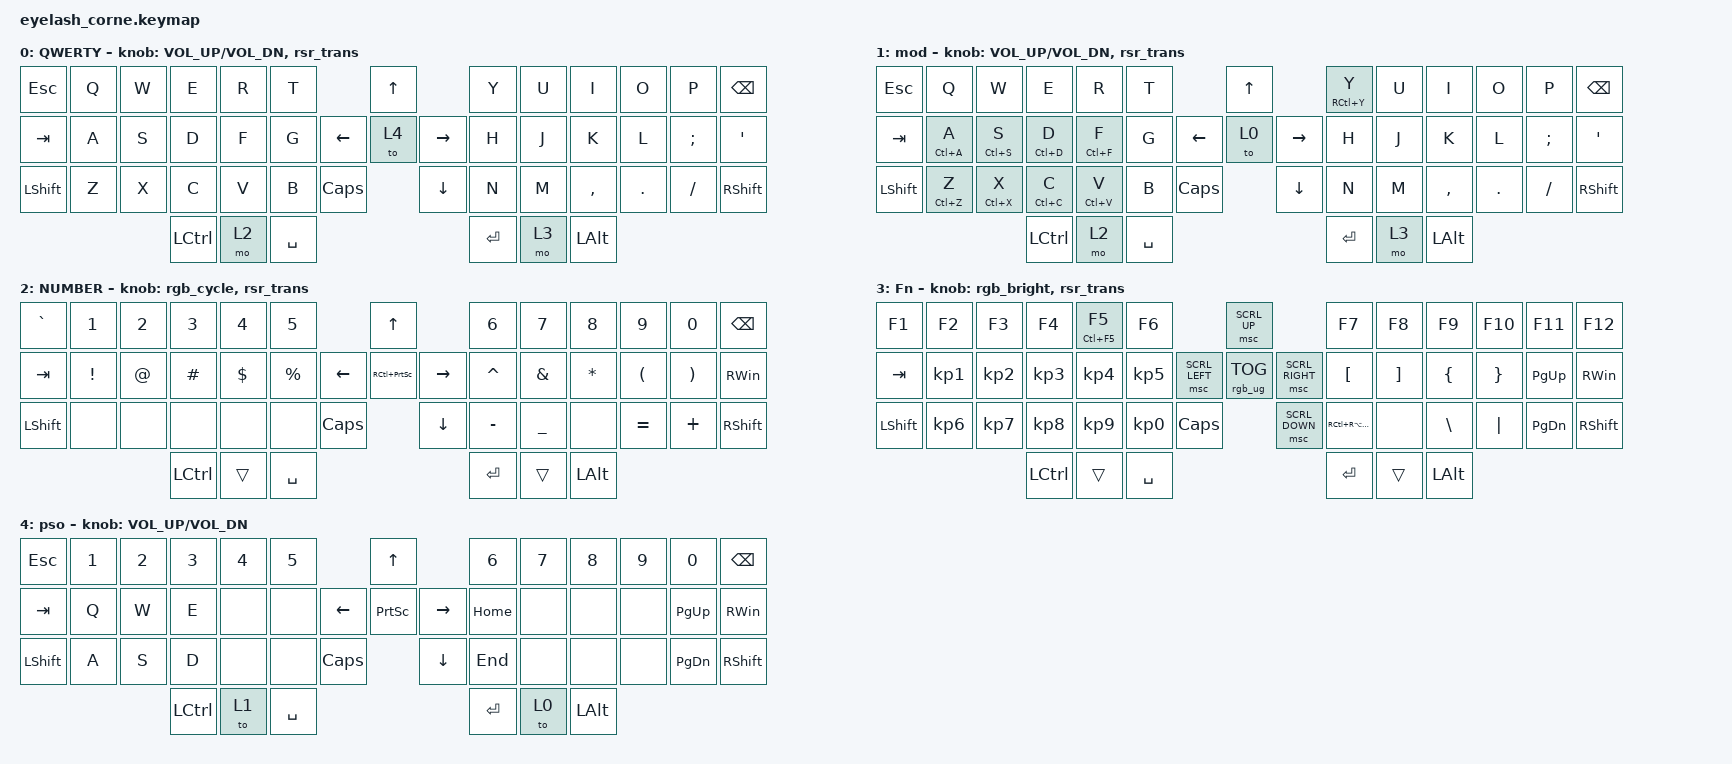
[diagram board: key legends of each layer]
#define ZMK_POINTING_DEFAULT_MOVE_VAL 1200  // 600
#define ZMK_POINTING_DEFAULT_SCRL_VAL 25   // 10

#include <input/processors.dtsi>
#include <zephyr/dt-bindings/input/input-event-codes.h>
#include <behaviors/runtime-sensor-rotate.dtsi>
#include <behaviors.dtsi>
#include <dt-bindings/zmk/keys.h>
#include <dt-bindings/zmk/pointing.h>
#include <dt-bindings/zmk/rgb.h>

&soft_off { hold-time-ms = <2000>; };

/ {
    behaviors {
        rsr_vol: rsr_vol {
            compatible = "zmk,behavior-runtime-sensor-rotate";
            #sensor-binding-cells = <0>;
            tap-ms = <5>;
            cw-binding = <&kp C_VOL_UP>;
            ccw-binding = <&kp C_VOL_DN>;
        };

        rsr_trans: rsr_trans {
            compatible = "zmk,behavior-runtime-sensor-rotate";
            #sensor-binding-cells = <0>;
            tap-ms = <0>;
        };

        rgb_cycle: rgb_cycle {
            compatible = "zmk,behavior-sensor-rotate";
            label = "RGB_CYCLE";
            #sensor-binding-cells = <0>;
            bindings = <&rgb_ug RGB_EFF>, <&rgb_ug RGB_EFR>;
        };

        rgb_speed: rgb_speed {
            compatible = "zmk,behavior-sensor-rotate";
            label = "RGB_SPEED";
            #sensor-binding-cells = <0>;
            bindings = <&rgb_ug RGB_SPI>, <&rgb_ug RGB_SPD>;
        };

        rgb_bright: rgb_bright {
            compatible = "zmk,behavior-sensor-rotate";
            label = "RGB_BRIGHT";
            #sensor-binding-cells = <0>;
            bindings = <&rgb_ug RGB_BRI>, <&rgb_ug RGB_BRD>;
        };
    };

    combos { compatible = "zmk,combos"; };

    macros {
        emdash: emdash {
            compatible = "zmk,behavior-macro";
            #binding-cells = <0>;
            bindings =
                <&macro_press>,
                <&kp LEFT_ALT>,
                <&macro_tap>,
                <&kp KP_NUMBER_0 &kp KP_NUMBER_4 &kp KP_NUMBER_5 &kp KP_NUMBER_1>,
                <&macro_release>,
                <&kp LEFT_ALT>;

            label = "EMDASH";
            wait-ms = <30>;
            tap-ms = <40>;
        };

        um_a: um_a {
            compatible = "zmk,behavior-macro";
            #binding-cells = <0>;
            bindings =
                <&macro_press>,
                <&kp LEFT_ALT>,
                <&macro_tap>,
                <&kp KP_NUMBER_1 &kp KP_NUMBER_3 &kp KP_NUMBER_2>,
                <&macro_release>,
                <&kp LEFT_ALT>;

            label = "UM_A";
            wait-ms = <30>;
            tap-ms = <40>;
        };

        um_o: um_o {
            compatible = "zmk,behavior-macro";
            #binding-cells = <0>;
            bindings =
                <&macro_press>,
                <&kp LEFT_ALT>,
                <&macro_tap>,
                <&kp N1 &kp N4 &kp N8>,
                <&macro_release>,
                <&kp LEFT_ALT>;

            label = "UM_O";
            wait-ms = <20>;
            tap-ms = <30>;
        };

        um_u: um_u {
            compatible = "zmk,behavior-macro";
            #binding-cells = <0>;
            bindings =
                <&macro_press>,
                <&kp LEFT_ALT>,
                <&macro_tap>,
                <&kp N1 &kp N2 &kp N9>,
                <&macro_release>,
                <&kp LEFT_ALT>;

            label = "UM_U";
            wait-ms = <20>;
            tap-ms = <30>;
        };

        um_e: um_e {
            compatible = "zmk,behavior-macro";
            #binding-cells = <0>;
            bindings =
                <&macro_press>,
                <&kp LEFT_ALT>,
                <&macro_tap>,
                <&kp N1 &kp NUMBER_3 &kp N7>,
                <&macro_release>,
                <&kp LEFT_ALT>;

            label = "UM_E";
            wait-ms = <20>;
            tap-ms = <30>;
        };

        um_i: um_i {
            compatible = "zmk,behavior-macro";
            #binding-cells = <0>;
            bindings =
                <&macro_press>,
                <&kp LEFT_ALT>,
                <&macro_tap>,
                <&kp N1 &kp NUMBER_3 &kp N9>,
                <&macro_release>,
                <&kp LEFT_ALT>;

            label = "UM_I";
            wait-ms = <20>;
            tap-ms = <30>;
        };

        lenny: lenny {
            compatible = "zmk,behavior-macro";
            #binding-cells = <0>;
            bindings =
                <&kp LEFT_PARENTHESIS>,
                <&macro_press>,
                <&kp LEFT_ALT>,
                <&macro_tap>,
                <&kp N8 &kp NUMBER_6 &kp N5>,
                <&macro_release>,
                <&kp LEFT_ALT>,
                <&macro_press>,
                <&kp RIGHT_ALT>,
                <&macro_tap>,
                <&kp N2 &kp N4 &kp N8>,
                <&macro_release>,
                <&kp RIGHT_ALT>,
                <&macro_press>,
                <&kp LEFT_ALT>,
                <&macro_tap>,
                <&kp N8 &kp N6 &kp N0>,
                <&macro_release>,
                <&kp LEFT_ALT>,
                <&macro_press>,
                <&kp RIGHT_ALT>,
                <&macro_tap>,
                <&kp N6 &kp N6 &kp N2>,
                <&macro_release>,
                <&kp RIGHT_ALT>,
                <&macro_press>,
                <&kp LEFT_ALT>,
                <&macro_tap>,
                <&kp N8 &kp N6 &kp N5>,
                <&macro_release>,
                <&kp LEFT_ALT>,
                <&macro_press>,
                <&kp RIGHT_ALT>,
                <&macro_tap>,
                <&kp N2 &kp N4 &kp N8>,
                <&macro_release>,
                <&kp RIGHT_ALT>,
                <&macro_tap>,
                <&kp RIGHT_PARENTHESIS>;

            label = "LENNY";
            wait-ms = <20>;
            tap-ms = <30>;
        };
    };

    keymap {
        compatible = "zmk,keymap";

        default {
            display-name = "QWERTY";
            bindings = <
&kp ESCAPE      &kp Q  &kp W  &kp E      &kp R  &kp T                                      &kp UP_ARROW                     &kp Y      &kp U  &kp I         &kp O    &kp P          &kp BSPC
&kp TAB         &kp A  &kp S  &kp D      &kp F  &kp G                      &kp LEFT_ARROW  &to 4           &kp RIGHT_ARROW  &kp H      &kp J  &kp K         &kp L    &kp SEMICOLON  &kp APOSTROPHE
&kp LEFT_SHIFT  &kp Z  &kp X  &kp C      &kp V  &kp B      &kp CAPSLOCK                    &kp DOWN_ARROW                   &kp N      &kp M  &kp COMMA     &kp DOT  &kp FSLH       &kp RIGHT_SHIFT
                              &kp LCTRL  &mo 2  &kp SPACE                                                                   &kp ENTER  &mo 3  &kp LEFT_ALT
            >;

            sensor-bindings = <&inc_dec_kp C_VOLUME_UP C_VOL_DN>, <&rsr_trans>;
        };

        mod {
            display-name = "mod";
            bindings = <
&kp ESCAPE      &kp Q        &kp W        &kp E        &kp R        &kp T                                &kp UP_ARROW             &mt RC(Y) Y  &kp U  &kp I         &kp O    &kp P          &kp BSPC
&kp TAB         &mt LC(A) A  &mt LC(S) S  &mt LC(D) D  &mt LC(F) F  &kp G                      &kp LEFT  &to 0         &kp RIGHT  &kp H        &kp J  &kp K         &kp L    &kp SEMICOLON  &kp APOSTROPHE
&kp LEFT_SHIFT  &mt LC(Z) Z  &mt LC(X) X  &mt LC(C) C  &mt LC(V) V  &kp B      &kp CAPSLOCK              &kp DOWN                 &kp N        &kp M  &kp COMMA     &kp DOT  &kp FSLH       &kp RIGHT_SHIFT
                                          &kp LCTRL    &mo 2        &kp SPACE                                                     &kp ENTER    &mo 3  &kp LEFT_ALT
            >;

            sensor-bindings = <&inc_dec_kp C_VOLUME_UP C_VOL_DN>, <&rsr_trans>;
        };

        num {
            display-name = "NUMBER";
            bindings = <
&kp GRAVE       &kp NUMBER_1  &kp NUMBER_2  &kp NUMBER_3  &kp N4      &kp N5                             &kp UP_ARROW                          &kp NUMBER_6  &kp N7     &kp N8        &kp N9                &kp N0                 &kp BSPC
&kp TAB         &kp EXCL      &kp AT        &kp POUND     &kp DOLLAR  &kp PERCENT              &kp LEFT  &kp RC(PRINTSCREEN)  &kp RIGHT_ARROW  &kp CARET     &kp AMPS   &kp ASTRK     &kp LEFT_PARENTHESIS  &kp RIGHT_PARENTHESIS  &kp RIGHT_WIN
&kp LEFT_SHIFT  &none         &none         &none         &none       &none        &kp CAPS              &kp DOWN                              &kp MINUS     &kp UNDER  &none         &kp EQUAL             &kp PLUS               &kp RIGHT_SHIFT
                                            &kp LCTRL     &trans      &kp SPACE                                                                &kp ENTER     &trans     &kp LEFT_ALT
            >;

            sensor-bindings = <&rgb_cycle>, <&rsr_trans>;
        };

        fn {
            display-name = "Fn";
            bindings = <
&kp F1          &kp F2           &kp F3           &kp F4           &mt LC(F5) F5    &kp F6                                       &msc SCRL_UP                      &kp F7              &kp F8             &kp F9          &kp F10          &kp F11        &kp F12
&kp TAB         &kp KP_NUMBER_1  &kp KP_NUMBER_2  &kp KP_NUMBER_3  &kp KP_NUMBER_4  &kp KP_NUMBER_5              &msc SCRL_LEFT  &rgb_ug RGB_TOG  &msc SCRL_RIGHT  &kp LEFT_BRACKET    &kp RIGHT_BRACKET  &kp LEFT_BRACE  &kp RIGHT_BRACE  &kp PAGE_UP    &kp RIGHT_WIN
&kp LEFT_SHIFT  &kp KP_NUMBER_6  &kp KP_NUMBER_7  &kp KP_NUMBER_8  &kp KP_NUMBER_9  &kp KP_NUMBER_0  &kp CAPS                    &msc SCRL_DOWN                    &kp RC(RA(DELETE))  &none              &kp BACKSLASH   &kp PIPE         &kp PAGE_DOWN  &kp RIGHT_SHIFT
                                                  &kp LCTRL        &trans           &kp SPACE                                                                      &kp ENTER           &trans             &kp LEFT_ALT
            >;

            sensor-bindings = <&rgb_bright>, <&rsr_trans>;
        };

        pso {
            bindings = <
&kp ESCAPE      &kp NUMBER_1  &kp NUMBER_2  &kp NUMBER_3  &kp NUMBER_4  &kp N5                           &kp UP_ARROW                &kp NUMBER_6  &kp N7  &kp N8        &kp N9  &kp N0         &kp BACKSPACE
&kp TAB         &kp Q         &kp W         &kp E         &none         &none                  &kp LEFT  &kp PRINTSCREEN  &kp RIGHT  &kp HOME      &none   &none         &none   &kp PAGE_UP    &kp RIGHT_WIN
&kp LEFT_SHIFT  &kp A         &kp S         &kp D         &none         &none      &kp CAPS              &kp DOWN                    &kp END       &none   &none         &none   &kp PAGE_DOWN  &kp RIGHT_SHIFT
                                            &kp LCTRL     &to 1         &kp SPACE                                                    &kp ENTER     &to 0   &kp LEFT_ALT
            >;

            sensor-bindings = <&inc_dec_kp C_VOLUME_UP C_VOL_DN>;
            label = "pso";
        };
    };
};
